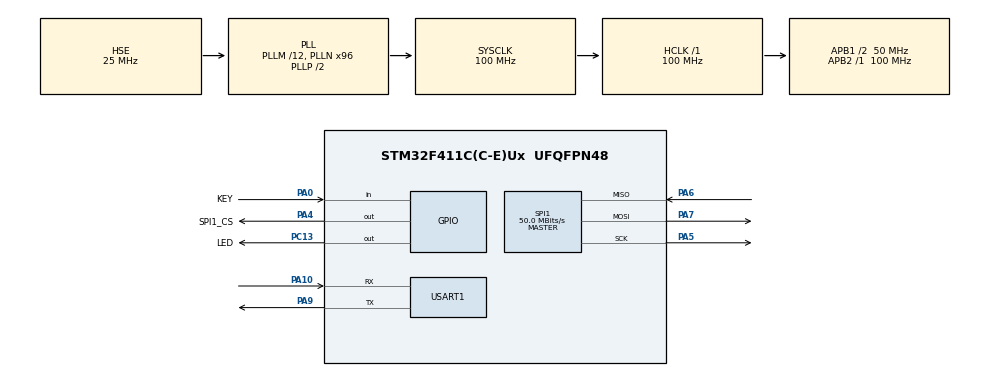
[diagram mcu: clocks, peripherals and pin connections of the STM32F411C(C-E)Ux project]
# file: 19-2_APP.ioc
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Dma.Request0=USART1_RX
Dma.USART1_RX.0.Direction=DMA_PERIPH_TO_MEMORY
Dma.USART1_RX.0.FIFOMode=DMA_FIFOMODE_DISABLE
Dma.USART1_RX.0.Instance=DMA2_Stream2
Dma.USART1_RX.0.MemDataAlignment=DMA_MDATAALIGN_BYTE
Dma.USART1_RX.0.MemInc=DMA_MINC_ENABLE
Dma.USART1_RX.0.Mode=DMA_NORMAL
Dma.USART1_RX.0.PeriphDataAlignment=DMA_PDATAALIGN_BYTE
Dma.USART1_RX.0.PeriphInc=DMA_PINC_DISABLE
Dma.USART1_RX.0.Priority=DMA_PRIORITY_LOW
FREERTOS.Tasks01=defaultTask,24,128,StartDefaultTask,Default,NULL,Dynamic,NULL,NULL
Mcu.Family=STM32F4
Mcu.Name=STM32F411C(C-E)Ux
Mcu.Package=UFQFPN48
NVIC.DMA2_Stream2_IRQn=true\:5\:0\:false\:false\:true\:true\:false\:true\:true
NVIC.PriorityGroup=NVIC_PRIORITYGROUP_4
NVIC.TIM1_TRG_COM_TIM11_IRQn=true\:15\:0\:false\:false\:true\:false\:false\:true\:true
NVIC.TimeBase=TIM1_TRG_COM_TIM11_IRQn
NVIC.TimeBaseIP=TIM11
NVIC.USART1_IRQn=true\:5\:0\:false\:false\:true\:true\:true\:true\:true
PA0-WKUP.GPIO_Label=KEY
PA0-WKUP.GPIO_PuPd=GPIO_PULLUP
PA0-WKUP.Signal=GPIO_Input
PA10.Mode=Asynchronous
PA10.Signal=USART1_RX
PA13.Mode=Serial_Wire
PA13.Signal=SYS_JTMS-SWDIO
PA14.Mode=Serial_Wire
PA14.Signal=SYS_JTCK-SWCLK
PA4.GPIO_Label=SPI1_CS
PA4.GPIO_Speed=GPIO_SPEED_FREQ_HIGH
PA4.PinState=GPIO_PIN_SET
PA4.Signal=GPIO_Output
PA5.Mode=Full_Duplex_Master
PA5.Signal=SPI1_SCK
PA6.Mode=Full_Duplex_Master
PA6.Signal=SPI1_MISO
PA7.Mode=Full_Duplex_Master
PA7.Signal=SPI1_MOSI
PA9.Mode=Asynchronous
PA9.Signal=USART1_TX
PC13-ANTI_TAMP.GPIO_Label=LED
PC13-ANTI_TAMP.Signal=GPIO_Output
PC14-OSC32_IN.Mode=LSE-External-Oscillator
PC14-OSC32_IN.Signal=RCC_OSC32_IN
PC15-OSC32_OUT.Mode=LSE-External-Oscillator
PC15-OSC32_OUT.Signal=RCC_OSC32_OUT
PH0\ -\ OSC_IN.Mode=HSE-External-Oscillator
PH0\ -\ OSC_IN.Signal=RCC_OSC_IN
PH1\ -\ OSC_OUT.Mode=HSE-External-Oscillator
PH1\ -\ OSC_OUT.Signal=RCC_OSC_OUT
ProjectManager.HeapSize=0x200
ProjectManager.StackSize=0x400
ProjectManager.TargetToolchain=MDK-ARM V5.32
RCC.48MHZClocksFreq_Value=50000000
RCC.AHBFreq_Value=100000000
RCC.APB1CLKDivider=RCC_HCLK_DIV2
RCC.APB1Freq_Value=50000000
RCC.APB1TimFreq_Value=100000000
RCC.APB2Freq_Value=100000000
RCC.APB2TimFreq_Value=100000000
RCC.CortexFreq_Value=100000000
RCC.HCLKFreq_Value=100000000
RCC.HSE_VALUE=25000000
RCC.HSI_VALUE=16000000
RCC.PLLM=12
RCC.PLLN=96
RCC.PLLSourceVirtual=RCC_PLLSOURCE_HSE
RCC.SYSCLKFreq_VALUE=100000000
RCC.SYSCLKSource=RCC_SYSCLKSOURCE_PLLCLK
RCC.VCOOutputFreq_Value=200000000
SPI1.CalculateBaudRate=50.0 MBits/s
SPI1.Direction=SPI_DIRECTION_2LINES
SPI1.Mode=SPI_MODE_MASTER
SPI1.VirtualType=VM_MASTER
USART1.VirtualMode=VM_ASYNC
VP_FREERTOS_VS_CMSIS_V2.Mode=CMSIS_V2
VP_SYS_VS_tim11.Mode=TIM11
board=custom

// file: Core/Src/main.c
/* USER CODE BEGIN Header */
/**
  ******************************************************************************
  * @file           : main.c
  * @brief          : Main program body
  ******************************************************************************
  * @attention
  *
  * Copyright (c) 2026 STMicroelectronics.
  * All rights reserved.
  *
  * This software is licensed under terms that can be found in the LICENSE file
  * in the root directory of this software component.
  * If no LICENSE file comes with this software, it is provided AS-IS.
  *
  ******************************************************************************
  */
/* USER CODE END Header */
#include "main.h"
#include "cmsis_os.h"
#include "dma.h"
#include "spi.h"
#include "usart.h"
#include "gpio.h"

/* USER CODE BEGIN Includes */

#include "AT24Cxx_Driver.h"
#include "iic.h"
// #include "w25qxx.h"
#include "w25qxx_Handler.h"

/* USER CODE END Includes */

void SystemClock_Config(void);
void MX_FREERTOS_Init(void);
/* USER CODE BEGIN PFP */

extern void SoftReset();

void LedFlash(void)
{

    for( int i = 0 ; i < 10; i++ )
    {
        HAL_GPIO_TogglePin(LED_GPIO_Port, LED_Pin);
        HAL_Delay(500);
    }

}

uint8_t SumPointer( const uint8_t * a, const uint8_t * b )
{
    uint8_t * sum_temp = (( uint8_t *) 0xA000000);

    * sum_temp = *a + *b;

    return *a + *b ;
}

/* USER CODE END PFP */

int main(void)
{
  /* USER CODE BEGIN 1 */
    //SCB->VTOR = 0x08008000U;

     __enable_irq();
  /* USER CODE END 1 */

  /* MCU Configuration--------------------------------------------------------*/

  /* Reset of all peripherals, Initializes the Flash interface and the Systick. */
  HAL_Init();

  /* Configure the system clock */
  SystemClock_Config();

  /* Initialize all configured peripherals */
  MX_GPIO_Init();
  MX_DMA_Init();
  MX_USART1_UART_Init();
  MX_SPI1_Init();
  /* USER CODE BEGIN 2 */
/* test AT24C02 */
    uint8_t test_ee = ee_CheckOk();

    /* 验证 APP 自检标识 */
    uint8_t app_selfCheck = 255;
    ee_ReadBytes(&app_selfCheck, 0x00, 1);
    if( 0x44 == app_selfCheck)
    {
        app_selfCheck = 0x00 ;
        ee_WriteBytes(&app_selfCheck, 0x00, 1);
        /* 等待看门狗主动复位 */
        while ( 1 );
    }
    else if (0x00 != app_selfCheck)
    {
        SoftReset();
        /* code */
    }

    uint8_t * a ;
    uint8_t * b ;

    *a = 1;
    *b = 2;

    uint8_t retval = SumPointer(a, b);

    // W25Qx_Init();
    W25Q64_Init();
  /* USER CODE END 2 */

  /* Init scheduler */
  osKernelInitialize();  /* Call init function for freertos objects (in freertos.c) */
  MX_FREERTOS_Init();

  /* Start scheduler */
  osKernelStart();
  /* We should never get here as control is now taken by the scheduler */
  /* Infinite loop */
  while (1)
  {

  }
}

void SystemClock_Config(void)
{
  RCC_OscInitTypeDef RCC_OscInitStruct = {0};
  RCC_ClkInitTypeDef RCC_ClkInitStruct = {0};

  /** Configure the main internal regulator output voltage
  */
  __HAL_RCC_PWR_CLK_ENABLE();
  __HAL_PWR_VOLTAGESCALING_CONFIG(PWR_REGULATOR_VOLTAGE_SCALE1);

  /** Initializes the RCC Oscillators according to the specified parameters
  * in the RCC_OscInitTypeDef structure.
  */
  RCC_OscInitStruct.OscillatorType = RCC_OSCILLATORTYPE_HSE;
  RCC_OscInitStruct.HSEState = RCC_HSE_ON;
  RCC_OscInitStruct.PLL.PLLState = RCC_PLL_ON;
  RCC_OscInitStruct.PLL.PLLSource = RCC_PLLSOURCE_HSE;
  RCC_OscInitStruct.PLL.PLLM = 12;
  RCC_OscInitStruct.PLL.PLLN = 96;
  RCC_OscInitStruct.PLL.PLLP = RCC_PLLP_DIV2;
  RCC_OscInitStruct.PLL.PLLQ = 4;
  if (HAL_RCC_OscConfig(&RCC_OscInitStruct) != HAL_OK)
  {
    Error_Handler();
  }

  /** Initializes the CPU, AHB and APB buses clocks
  */
  RCC_ClkInitStruct.ClockType = RCC_CLOCKTYPE_HCLK|RCC_CLOCKTYPE_SYSCLK
                              |RCC_CLOCKTYPE_PCLK1|RCC_CLOCKTYPE_PCLK2;
  RCC_ClkInitStruct.SYSCLKSource = RCC_SYSCLKSOURCE_PLLCLK;
  RCC_ClkInitStruct.AHBCLKDivider = RCC_SYSCLK_DIV1;
  RCC_ClkInitStruct.APB1CLKDivider = RCC_HCLK_DIV2;
  RCC_ClkInitStruct.APB2CLKDivider = RCC_HCLK_DIV1;

  if (HAL_RCC_ClockConfig(&RCC_ClkInitStruct, FLASH_LATENCY_3) != HAL_OK)
  {
    Error_Handler();
  }
}

void HAL_TIM_PeriodElapsedCallback(TIM_HandleTypeDef *htim)
{
  if (htim->Instance == TIM11) {
    HAL_IncTick();
  }
}

void Error_Handler(void)
{
  __disable_irq();
  while (1)
  {
  }
}

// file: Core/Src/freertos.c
/* USER CODE BEGIN Header */
/**
  ******************************************************************************
  * File Name          : freertos.c
  * Description        : Code for freertos applications
  ******************************************************************************
  * @attention
  *
  * Copyright (c) 2026 STMicroelectronics.
  * All rights reserved.
  *
  * This software is licensed under terms that can be found in the LICENSE file
  * in the root directory of this software component.
  * If no LICENSE file comes with this software, it is provided AS-IS.
  *
  ******************************************************************************
  */
/* USER CODE END Header */

#include "FreeRTOS.h"
#include "task.h"
#include "main.h"
#include "cmsis_os.h"

/* USER CODE BEGIN Includes */
#include "gpio.h"
#include "usart.h"
#include "queue.h"
#include "ymodem.h"
#include "SWC_OTA.h"
/* USER CODE END Includes */

/* USER CODE BEGIN Variables */
QueueHandle_t Q_YmodemReclength;
uint8_t g_rec_cmd[10] = {0};
uint8_t g_rec_len = 0;

extern osThreadAttr_t OTA_task_attributes;
extern osThreadId_t OTA_taskHandle;
/* USER CODE END Variables */
/* Definitions for defaultTask */

osThreadId_t defaultTaskHandle;
const osThreadAttr_t defaultTask_attributes = {
  .name = "defaultTask",
  .stack_size = 128 * 4,
  .priority = (osPriority_t) osPriorityNormal,
};

void StartDefaultTask(void *argument);

void MX_FREERTOS_Init(void); /* (MISRA C 2004 rule 8.1) */

void MX_FREERTOS_Init(void) {

  /* USER CODE BEGIN RTOS_QUEUES */
  /* add queues, ... */
  Q_YmodemReclength = xQueueCreate(1,sizeof(uint16_t));     // xQueueCreate(1,sizeof(uint16_t));
  /* USER CODE END RTOS_QUEUES */

  /* Create the thread(s) */
  /* creation of defaultTask */
  defaultTaskHandle = osThreadNew(StartDefaultTask, NULL, &defaultTask_attributes);

  OTA_taskHandle = osThreadNew(ota_task_runnable, NULL, &OTA_task_attributes);

}

void StartDefaultTask(void *argument)
{
  /* USER CODE BEGIN StartDefaultTask */
    // HAL_UARTEx_ReceiveToIdle_DMA(&huart1, g_rec_cmd, 10);   // 这个函数的作用是�?启接收吗�?

  /* Infinite loop */
  for(;;)
  {
    //osDelay(1);
    HAL_GPIO_TogglePin(LED_GPIO_Port, LED_Pin);
    //HAL_Delay(500);
    osDelay(100);
  }
  /* USER CODE END StartDefaultTask */
}

/* USER CODE BEGIN Application */

void HAL_UARTEx_RxEventCallback( UART_HandleTypeDef * huart, uint16_t Size)
{
  UNUSED(huart);
  UNUSED(Size);
	uint16_t t_u16_rec_len = 0;
	BaseType_t xHigherPriorityTaskWoken = pdFALSE;

    // 判断是否是串�?1
     if( huart->Instance == USART1 )
     {
        g_rec_len = Size ;

		t_u16_rec_len = Size;   //t_u16_rec_len = Size;
        if(pdFALSE != xQueueSendFromISR(Q_YmodemReclength,&t_u16_rec_len,0))
		{
			xHigherPriorityTaskWoken = pdTRUE;
		}
		HAL_UART_DMAStop(huart);
		portYIELD_FROM_ISR(xHigherPriorityTaskWoken);

     }

}

/* USER CODE END Application */
